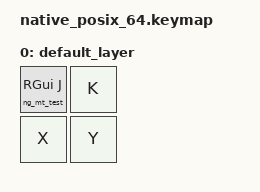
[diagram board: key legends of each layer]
#include <dt-bindings/zmk/keys.h>
#include <dt-bindings/zmk/kscan_mock.h>
#include <behaviors.dtsi>

/ {
    behaviors {
        ng_mt_test: ng_mt_test {
            compatible = "zmk,behavior-naginata-hold-tap";
            #binding-cells = <2>;
            bindings = <&kp>, <&kp>;
            shortcut-binding = <&kp>;
            tapping-term-ms = <100>;
            hold-trigger-key-positions = <2 3>;
        };
    };

    keymap {
        compatible = "zmk,keymap";

        default_layer {
            bindings = <
                &ng_mt_test RGUI J  &kp K
                &kp X                &kp Y
            >;
        };
    };
};

&kscan {
    events = <
        ZMK_MOCK_PRESS(0, 0, 10)
        ZMK_MOCK_PRESS(0, 1, 150)
        ZMK_MOCK_RELEASE(0, 1, 10)
        ZMK_MOCK_RELEASE(0, 0, 10)
    >;
};
